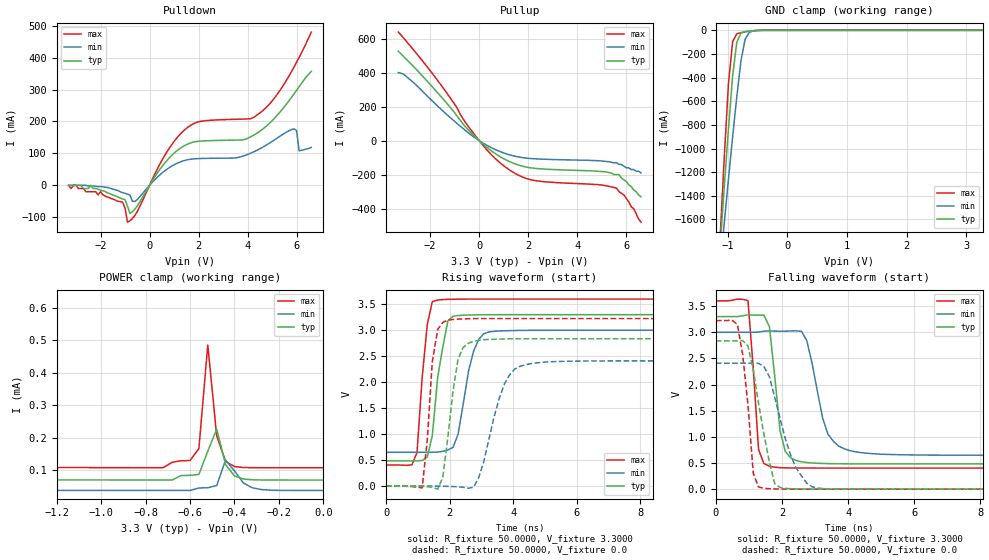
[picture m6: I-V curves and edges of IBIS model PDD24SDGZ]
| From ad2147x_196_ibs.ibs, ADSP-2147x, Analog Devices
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|   Model PDD24SDGZ
[Model]  PDD24SDGZ
Model_type I/O
Polarity   Non-Inverting
Enable   Active-Low
Vinl =   0.8000V
Vinh =   2.0000V
Vmeas =  1.6500V
Cref =   50.0000pF
Rref =   1.0000M
Vref =   0.0V
C_comp   2.8167pF   2.7893pF   2.8618pF
[Temperature Range]   25.0000   0.1250k   -40.0000
[Voltage Range]   3.3000V   3.0000V   3.6000V
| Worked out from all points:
|   slope of the pulldown table from 0 to 0.495 V, typ, clamps not added: 8.59 ohm
|   slope of the pullup table from 0 to 0.495 V, typ, clamps not added: 8.25 ohm
|   GND clamp passes 1 mA (typ) near -0.51 V on its own axis
|   POWER clamp passes 1 mA (typ) near -3.13 V on its own axis
|   rising waveform, R_fixture 50.0000, V_fixture 3.3000: 20-80 % time 337ps typ, 427ps min, 253ps max; typ from 0.482 V to 3.3 V
|   rising waveform, R_fixture 50.0000, V_fixture 0.0: 20-80 % time 352ps typ, 623ps min, 250ps max; typ from 0 V to 2.83 V
|   falling waveform, R_fixture 50.0000, V_fixture 3.3000: 20-80 % time 287ps typ, 489ps min, 211ps max; typ from 3.3 V to 0.482 V
|   falling waveform, R_fixture 50.0000, V_fixture 0.0: 20-80 % time 468ps typ, 664ps min, 280ps max; typ from 2.83 V to 0 V
[Pulldown]
|Voltage   I(typ)   I(min)   I(max)
-3.3V     0A         0A         0A
-1.1V     -43mA      -23mA      -53mA
-900mV    -64.9mA    -28mA      -115.5mA
-800mV    -88.02mA   -30.2mA    -111.1mA
-600mV    -74.7mA    -50.72mA   -94.54mA
500mV     58.14mA    37.95mA    77.53mA
1.3V      118.5mA    74.58mA    164.1mA
4.5V      169.4mA    114.5mA    226.7mA
5.9V      287mA      176.5mA    371.3mA
6V        297.8mA    171.4mA    385.7mA
6.1V      308.7mA    108mA      400.5mA
6.6V      356.6mA    118.4mA    480mA
[Pullup]
|Voltage   I(typ)   I(min)   I(max)
-3.3V     526.3mA    401.1mA    639mA
-2.8V     453.7mA    356.3mA    555mA
-1.6V     265.8mA    190.2mA    335.2mA
-400mV    56.46mA    40.87mA    74.87mA
300mV     -38.13mA   -26.42mA   -52.34mA
1V        -106.4mA   -72.57mA   -148.2mA
1.6V      -143.5mA   -95.99mA   -203mA
2.2V      -161.9mA   -106.2mA   -233.1mA
5.6V      -200mA     -130mA     -280mA
5.9V      -230mA     -150mA     -320mA
6.3V      -290mA     -170mA     -400mA
6.6V      -330mA     -190mA     -480mA
[GND_clamp]
|Voltage   I(typ)   I(min)   I(max)
-3.3V     -18.8A     -14.27A    -25.23A
-1.13V    -1.833A    -2.005A    -1.758A
-1.06V    -1.323A    -1.629A    -1.073A
-990mV    -833.7mA   -1.26A     -452.1mA
-920mV    -386mA     -901.5mA   -95.46mA
-850mV    -101.1mA   -561.6mA   -28.86mA
-780mV    -22.84mA   -257.9mA   -19.06mA
-710mV    -10.49mA   -75.05mA   -12.43mA
-640mV    -5.823mA   -16.98mA   -6.956mA
-570mV    -2.691mA   -4.569mA   -2.895mA
3.28V     69.22uA    40.01uA    107.2uA
[POWER_clamp]
|Voltage   I(typ)   I(min)   I(max)
-3.28V    87.88mA    43.55uA    3.529A
-3.16V    1.877mA    42.72uA    2.593A
-3.08V    166uA      42.21uA    1.982A
-3V       82.19uA    41.74uA    1.387A
-2.68V    75uA       40.13uA    1.305mA
-2.64V    74.68uA    39.96uA    287.6uA
-2.56V    74.08uA    39.65uA    117.9uA
-720mV    69.4uA     37.2uA     107.4uA
-560mV    86.4uA     44.65uA    166.1uA
-520mV    158.2uA    45.57uA    485uA
-440mV    116.6uA    130.7uA    126.6uA
0V        69.22uA    37.08uA    107.2uA
[Ramp]
| variable   typ   min   max
dV/dt_r  1.7010/0.3518n   1.4448/0.6125n   1.9338/0.2473n
dV/dt_f  1.6901/0.2872n   1.4102/0.4893n   1.9174/0.2111n
R_load = 50.0000
[Rising Waveform]
R_fixture= 50.0000
V_fixture= 3.3000
V_fixture_min= 3.0000
V_fixture_max= 3.6000
L_fixture= 0.0H
C_fixture= 0.0F
|time   V(typ)   V(min)   V(max)
0s        482.2mV    648.7mV    403.4mV
970ps     482.8mV    648.6mV    649.2mV
1.29ns    555.8mV    648.3mV    3.104V
1.45ns    968.1mV    648.8mV    3.549V
1.62ns    2.096V     652.7mV    3.581V
1.78ns    2.677V     667.3mV    3.589V
2.1ns     3.266V     744mV      3.595V
2.75ns    3.294V     2.597V     3.599V
3.23ns    3.298V     2.965V     3.599V
16ns      3.299V     2.999V     3.599V
[Rising Waveform]
R_fixture= 50.0000
V_fixture= 0.0
V_fixture_min= 0.0
V_fixture_max= 0.0
L_fixture= 0.0H
C_fixture= 0.0F
|time   V(typ)   V(min)   V(max)
0s        762.6nV    991.3nV    659.4nV
1.13ns    -8.281mV   57.58uV    -39.58mV
1.45ns    -23.39mV   -326.4uV   2.393V
1.78ns    166.5mV    -4.081mV   3.15V
1.94ns    940.8mV    -7.234mV   3.191V
2.42ns    2.666V     -24.65mV   3.217V
2.91ns    2.805V     160.4mV    3.223V
3.72ns    2.831V     1.966V     3.223V
4.36ns    2.835V     2.333V     3.223V
16ns      2.835V     2.408V     3.223V
[Falling Waveform]
R_fixture= 50.0000
V_fixture= 3.3000
V_fixture_min= 3.0000
V_fixture_max= 3.6000
L_fixture= 0.0H
C_fixture= 0.0F
|time   V(typ)   V(min)   V(max)
0s        3.299V     2.999V     3.599V
970ps     3.332V     2.999V     3.605V
1.29ns    3.325V     3.004V     758.7mV
1.62ns    3.104V     3.026V     439mV
1.94ns    1.119V     3.02V      411.2mV
2.42ns    549.6mV    3.027V     404.9mV
2.75ns    508.6mV    2.839V     404mV
3.39ns    488.6mV    1.051V     403.4mV
4.04ns    484.2mV    738.3mV    403.4mV
16ns      482.2mV    648.7mV    403.4mV
[Falling Waveform]
R_fixture= 50.0000
V_fixture= 0.0
V_fixture_min= 0.0
V_fixture_max= 0.0
L_fixture= 0.0H
C_fixture= 0.0F
|time   V(typ)   V(min)   V(max)
0s        2.835V     2.408V     3.223V
650ps     2.834V     2.408V     3.151V
810ps     2.841V     2.408V     2.571V
1.13ns    2.286V     2.409V     305.5mV
1.29ns    1.642V     2.405V     42.12mV
1.62ns    510.8mV    2.147V     8.654mV
1.78ns    103.7mV    1.755V     4.839mV
2.42ns    5.22mV     412mV      879.4uV
2.91ns    1.733mV    46.14mV    303.2uV
16ns      4.8uV      14.16uV    -1.238uV
